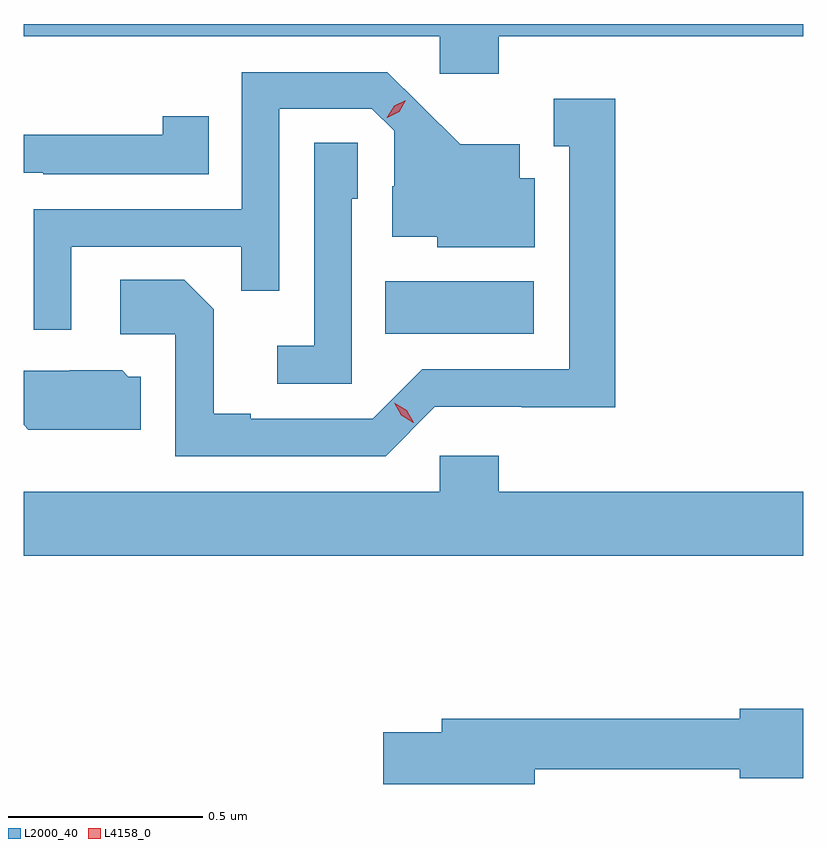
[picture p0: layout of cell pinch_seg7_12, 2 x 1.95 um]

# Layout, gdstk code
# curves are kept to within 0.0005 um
import gdstk
lib = gdstk.Library(unit=1e-6, precision=1e-09)
def R(c, l, rs):  # rectangles x0, y0, x1, y1
    for r in rs: c.add(gdstk.rectangle(r[:2], r[2:], *l))
def P(c, l, *ps):  # polygons
    for p in ps: c.add(gdstk.Polygon(p, *l))
L2000_40 = (2000, 40)
L4158_0 = (4158, 0)

pinch_seg7_12 = lib.new_cell('pinch_seg7_12')
R(pinch_seg7_12, L2000_40, [(1032.694,1081.106,1033.075,1081.24)])
P(pinch_seg7_12, L2000_40, [(1032.986,1081.868),(1033.767,1081.868),(1033.767,1081.9),(1031.767,1081.9),(1031.767,1081.868),(1032.834,1081.868),(1032.834,1081.773),(1032.986,1081.773)],
  [(1031.889,1081.329),(1032.325,1081.329),(1032.325,1081.216),(1032.423,1081.216),(1032.423,1081.683),(1032.66,1081.683),(1032.717,1081.626),(1032.717,1081.484),(1032.713,1081.484),(1032.713,1081.355),(1032.828,1081.355),(1032.828,1081.328),(1033.078,1081.328),(1033.078,1081.504),(1033.039,1081.504),(1033.039,1081.591),(1032.887,1081.591),(1032.7,1081.776),(1032.327,1081.776),(1032.327,1081.425),(1031.793,1081.425),(1031.793,1081.116),(1031.889,1081.116)],
  [(1032.822,1080.918),(1033.044,1080.918),(1033.044,1080.917),(1033.285,1080.917),(1033.285,1081.708),(1033.127,1081.708),(1033.127,1081.587),(1033.166,1081.587),(1033.166,1081.014),(1032.789,1081.014),(1032.663,1080.888),(1032.349,1080.888),(1032.349,1080.901),(1032.255,1080.901),(1032.255,1081.168),(1032.179,1081.244),(1032.015,1081.244),(1032.015,1081.104),(1032.156,1081.104),(1032.156,1080.792),(1032.696,1080.792)],
  [(1032.242,1081.663),(1032.124,1081.663),(1032.124,1081.616),(1031.767,1081.616),(1031.767,1081.518),(1031.818,1081.518),(1031.818,1081.515),(1032.242,1081.515)],
  [(1032.609,1081.452),(1032.624,1081.452),(1032.624,1081.595),(1032.513,1081.595),(1032.513,1081.075),(1032.417,1081.075),(1032.417,1080.978),(1032.609,1080.978)],
  [(1032.067,1080.996),(1032.036,1080.996),(1032.02,1081.012),(1031.886,1081.012),(1031.886,1081.011),(1031.767,1081.011),(1031.767,1080.872),(1031.779,1080.86),(1032.067,1080.86)],
  [(1033.767,1080.7),(1032.986,1080.7),(1032.986,1080.793),(1032.834,1080.793),(1032.834,1080.7),(1031.767,1080.7),(1031.767,1080.536),(1033.767,1080.536)],
  [(1033.078,1079.989),(1033.604,1079.989),(1033.604,1079.966),(1033.767,1079.966),(1033.767,1080.144),(1033.604,1080.144),(1033.604,1080.118),(1032.839,1080.118),(1032.839,1080.084),(1032.69,1080.084),(1032.69,1079.951),(1033.078,1079.951)])
P(pinch_seg7_12, L4158_0, [(1032.766,1080.877),(1032.735,1080.897),(1032.718,1080.929),(1032.718,1080.929),(1032.718,1080.929),(1032.75,1080.91),(1032.767,1080.878),(1032.767,1080.877)],
  [(1032.699,1081.66),(1032.699,1081.66),(1032.717,1081.69),(1032.747,1081.705),(1032.747,1081.705),(1032.747,1081.705),(1032.73,1081.675),(1032.7,1081.66)])

lib.write_gds('pinch_seg7_12.gds')
